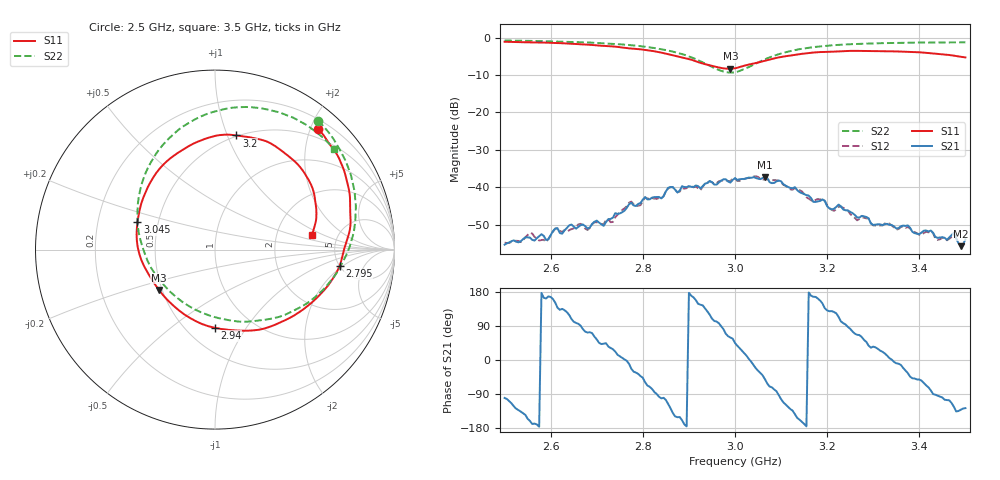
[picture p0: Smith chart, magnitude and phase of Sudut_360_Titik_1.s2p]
# Hz S RI R 50
! CMT, C1220, 16058040, 17.2.0/1
! Date: 15/08/2018 09:51:20
! Data: Format (Calibration Info)
! Freq  S11: Re/Im (F2)  S21: Re/Im (F2)  S12: Re/Im (F2)  S22: Re/Im (F2)
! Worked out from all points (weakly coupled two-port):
!   201 points, 2.5 GHz to 3.5 GHz, reference 50 ohm
!   highest |S21| = -37.31 dB at 3.065 GHz (marker M1); lowest = -55.8 dB at 3.49 GHz (marker M2)
!   lowest |S11| = -8.3 dB at 2.99 GHz (marker M3), VSWR 2.25, Z = 24 - j12.7 ohm
!   |S11| at or under -10 dB: nowhere
!   |S22| runs from -9.3 to -0.7 dB; largest |S21 - S12| = 0.0012
!   S11 on the Smith chart (normalised r, x): 2.5 GHz: 0.34, +2.13; 2.795 GHz: 4.99, -1.80; 2.94 GHz: 0.68, -0.73; 3.045 GHz: 0.38, +0.15; 3.2 GHz: 0.49, +1.08; 3.5 GHz: 3.22, +0.72
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2.5e9  0.5752 0.6718  -0.0003 -0.00167  -0.000286 -0.0018  0.5751 0.7182
2.555e9  0.6401 0.5849  -0.002 -0.000695  -0.0023 -0.000878  0.6361 0.6493
2.59e9  0.6856 0.5195  -0.00188 0.000601  -0.0018 0.000405  0.6724 0.5965
2.61e9  0.7031 0.4809  -0.00245 0.00136  -0.00248 0.00132  0.6924 0.5624
2.67e9  0.7469 0.3306  0.000475 0.00314  0.00067 0.00302  0.7473 0.445
2.715e9  0.7541 0.1947  0.00223 0.00207  0.00231 0.00221  0.7755 0.3347
2.775e9  0.7165 -0.00952  0.00568 -0.00244  0.00582 -0.00271  0.7802 0.1488
2.795e9  0.6937 -0.0921  0.00453 -0.00415  0.00423 -0.00392  0.7683 0.0778
2.835e9  0.5949 -0.2405  -0.000893 -0.00736  -0.000614 -0.00715  0.7066 -0.079
2.86e9  0.4902 -0.3342  -0.00611 -0.00801  -0.00599 -0.00798  0.6384 -0.1821
2.94e9  -0.00199 -0.4352  -0.00705 0.00896  -0.00731 0.00881  0.1738 -0.402
2.99e9  -0.3122 -0.225  0.0059 0.00994  0.00603 0.0105  -0.2134 -0.2668
3e9  -0.3568 -0.1587  0.00937 0.00934  0.00995 0.00882  -0.2777 -0.2051
3.045e9  -0.432 0.1528  0.0124 -0.00485  0.0131 -0.00492  -0.431 0.1376
3.065e9  -0.3992 0.2901  0.00864 -0.0105  0.00807 -0.00977  -0.4249 0.2918
3.17e9  0.00459 0.6344  -0.00621 0.00144  -0.00635 0.000951  -0.0715 0.7449
3.2e9  0.1186 0.6361  -0.00363 0.00421  -0.00355 0.00448  0.0415 0.7804
3.335e9  0.4739 0.4601  0.00313 0.000278  0.00326 0.000172  0.4171 0.7423
3.44e9  0.5641 0.229  -0.000155 -0.00209  -7.79e-05 -0.00197  0.5937 0.6309
3.475e9  0.5582 0.1419  -0.00135 -0.00206  -0.00121 -0.00199  0.6364 0.5898
3.49e9  0.5472 0.1034  -0.00108 -0.00122  -0.00117 -0.00117  0.6535 0.571
3.5e9  0.5391 0.0788  -0.00121 -0.0016  -0.00125 -0.00136  0.6647 0.5583
